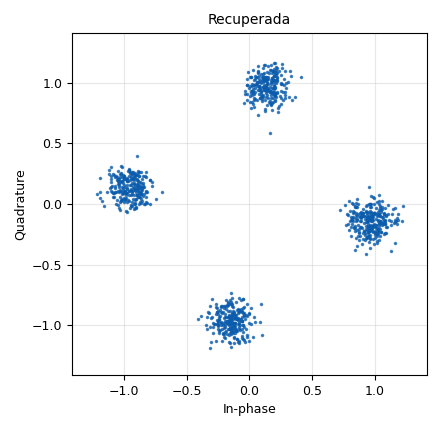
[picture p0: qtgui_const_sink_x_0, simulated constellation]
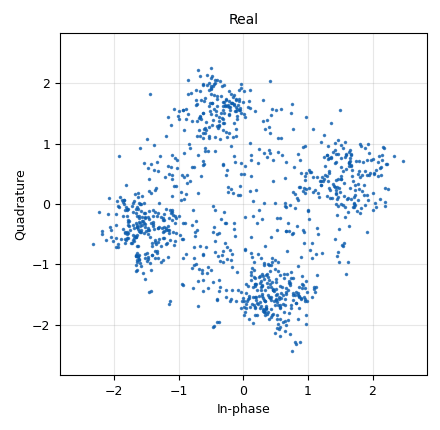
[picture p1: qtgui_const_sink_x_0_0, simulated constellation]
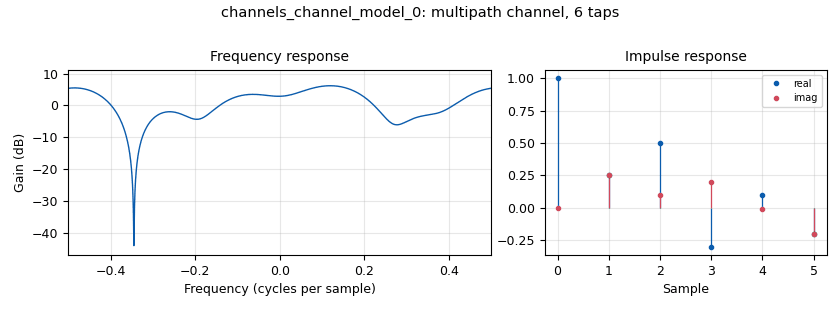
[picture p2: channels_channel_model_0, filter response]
options:
  parameters:
    author: Juan David Barrero L
    generate_options: qt_gui
    id: Ecualizer
    output_language: python
    title: 'Ecualizaer '
  states: {}

blocks:
- name: freq_offset
  id: variable_qtgui_range
  parameters:
    label: freq offset
    orient: Qt.Horizontal
    start: '-100e-3'
    step: '1e-3'
    stop: '0.1'
    value: '0'
  states: {}
- name: noise_offset
  id: variable_qtgui_range
  parameters:
    label: noise
    orient: Qt.Horizontal
    start: '0'
    step: '10e-3'
    stop: '1'
    value: '100e-6'
  states: {}
- name: samp_rate
  id: variable
  parameters:
    value: '32000'
  states: {}
- name: taps
  id: variable
  parameters:
    value: '[1,0.25+0.25j,0.5+0.1j,-0.3+0.2j,0.1-0.01j,-0.2-0.2j]'
  states: {}
- name: time_offset
  id: variable_qtgui_range
  parameters:
    label: time offset
    orient: Qt.Horizontal
    start: '0.999'
    step: '0.0001'
    stop: '1.001'
    value: '1'
  states: {}
- name: analog_random_source_x_0
  id: analog_random_source_x
  parameters:
    max: '256'
    min: '0'
    num_samps: '1000'
    repeat: 'True'
    type: byte
  states: {}
- name: blocks_throttle_0
  id: blocks_throttle
  parameters:
    samples_per_second: samp_rate
    type: complex
  states: {}
- name: channels_channel_model_0
  id: channels_channel_model
  parameters:
    epsilon: time_offset
    freq_offset: freq_offset
    noise_voltage: noise_offset
    seed: '0'
    taps: taps
  states: {}
- name: digital_cma_equalizer_cc_0
  id: digital_cma_equalizer_cc
  parameters:
    modulus: '1'
    mu: '10e-3'
    num_taps: '15'
    sps: '4'
  states: {}
- name: digital_psk_mod_0
  id: digital_psk_mod
  parameters:
    constellation_points: '4'
    differential: 'False'
    excess_bw: '0.35'
    mod_code: '"gray"'
    samples_per_symbol: '4'
  states: {}
- name: qtgui_const_sink_x_0
  id: qtgui_const_sink_x
  parameters:
    autoscale: 'True'
    grid: 'True'
    name: '"Recuperada"'
    size: '1024'
    type: complex
  states: {}
- name: qtgui_const_sink_x_0_0
  id: qtgui_const_sink_x
  parameters:
    autoscale: 'True'
    grid: 'True'
    name: '"Real"'
    size: '1024'
    type: complex
  states: {}

connections:
- [analog_random_source_x_0, '0', digital_psk_mod_0, '0']
- [blocks_throttle_0, '0', channels_channel_model_0, '0']
- [channels_channel_model_0, '0', digital_cma_equalizer_cc_0, '0']
- [channels_channel_model_0, '0', qtgui_const_sink_x_0_0, '0']
- [digital_cma_equalizer_cc_0, '0', qtgui_const_sink_x_0, '0']
- [digital_psk_mod_0, '0', blocks_throttle_0, '0']

metadata:
  file_format: 1
